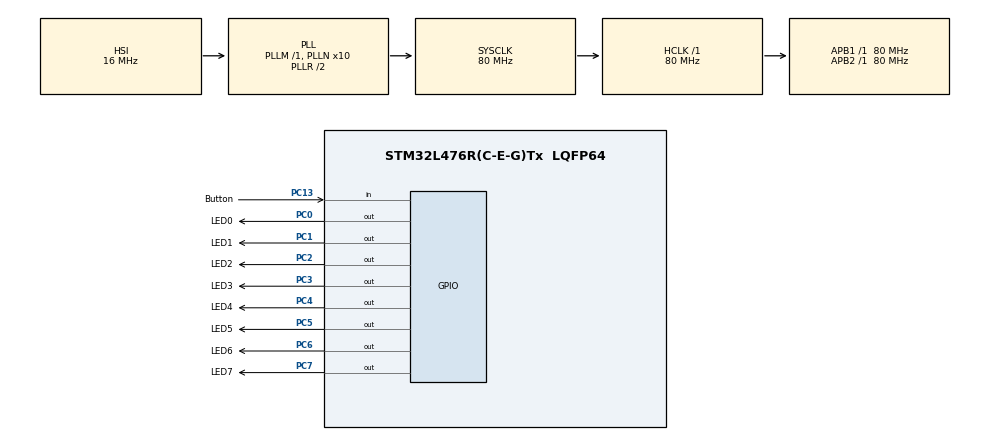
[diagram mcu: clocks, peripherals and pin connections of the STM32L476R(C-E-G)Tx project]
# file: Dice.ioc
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Mcu.Family=STM32L4
Mcu.Name=STM32L476R(C-E-G)Tx
Mcu.Package=LQFP64
NVIC.PriorityGroup=NVIC_PRIORITYGROUP_4
PC0.GPIO_Label=LED0
PC0.Signal=GPIO_Output
PC1.GPIO_Label=LED1
PC1.Signal=GPIO_Output
PC13.GPIO_Label=Button
PC13.Signal=GPIO_Input
PC2.GPIO_Label=LED2
PC2.Signal=GPIO_Output
PC3.GPIO_Label=LED3
PC3.Signal=GPIO_Output
PC4.GPIO_Label=LED4
PC4.Signal=GPIO_Output
PC5.GPIO_Label=LED5
PC5.Signal=GPIO_Output
PC6.GPIO_Label=LED6
PC6.Signal=GPIO_Output
PC7.GPIO_Label=LED7
PC7.Signal=GPIO_Output
PH0-OSC_IN\ (PH0).Mode=HSE-External-Oscillator
PH0-OSC_IN\ (PH0).Signal=RCC_OSC_IN
PH1-OSC_OUT\ (PH1).Mode=HSE-External-Oscillator
PH1-OSC_OUT\ (PH1).Signal=RCC_OSC_OUT
ProjectManager.HeapSize=0x200
ProjectManager.StackSize=0x400
ProjectManager.TargetToolchain=STM32CubeIDE
RCC.ADCFreq_Value=64000000
RCC.AHBFreq_Value=80000000
RCC.APB1Freq_Value=80000000
RCC.APB1TimFreq_Value=80000000
RCC.APB2Freq_Value=80000000
RCC.APB2TimFreq_Value=80000000
RCC.CortexFreq_Value=80000000
RCC.HCLKFreq_Value=80000000
RCC.HSE_VALUE=8000000
RCC.HSI_VALUE=16000000
RCC.LSE_VALUE=32768
RCC.MSI_VALUE=4000000
RCC.PLLN=10
RCC.PLLSourceVirtual=RCC_PLLSOURCE_HSI
RCC.SYSCLKFreq_VALUE=80000000
RCC.SYSCLKSource=RCC_SYSCLKSOURCE_PLLCLK
RCC.USBFreq_Value=64000000
RCC.VCOOutputFreq_Value=160000000
board=custom

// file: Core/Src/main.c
/* USER CODE BEGIN Header */
/**
  ******************************************************************************
  * @file           : main.c
  * @brief          : Main program body
  ******************************************************************************
  * @attention
  *
  * Copyright (c) 2024 STMicroelectronics.
  * All rights reserved.
  *
  * This software is licensed under terms that can be found in the LICENSE file
  * in the root directory of this software component.
  * If no LICENSE file comes with this software, it is provided AS-IS.
  *
  ******************************************************************************
  */
/* USER CODE END Header */
#include "main.h"

void SystemClock_Config(void);
static void MX_GPIO_Init(void);

int main(void)
{

  /* MCU Configuration--------------------------------------------------------*/

  /* Reset of all peripherals, Initializes the Flash interface and the Systick. */
  HAL_Init();

  /* Configure the system clock */
  SystemClock_Config();

  /* Initialize all configured peripherals */
  MX_GPIO_Init();
  /* USER CODE BEGIN 2 */
  int LED[]={LED0_Pin,LED1_Pin,LED2_Pin,LED3_Pin,LED4_Pin,LED5_Pin,LED6_Pin,LED7_Pin};
  int dice;

  void AllOff()
  {
	  for(int i=0;i<8;++i)
	  {
		  HAL_GPIO_WritePin(GPIOC, LED[i], 0);
	  }
  }
  /* USER CODE END 2 */

  /* Infinite loop */
  /* USER CODE BEGIN WHILE */
  srand(time(NULL));
  while (1)
  {
	  AllOff();
	  while(HAL_GPIO_ReadPin(Button_GPIO_Port, Button_Pin)==1);
	  dice=rand() %6 + 1;
	  switch(dice)
	  {
	  case 1:
		  HAL_GPIO_WritePin(GPIOC, LED[3], 1);
		  break;
	  case 2 :
		  HAL_GPIO_WritePin(GPIOC, LED[1], 1);
		  HAL_GPIO_WritePin(GPIOC, LED[5], 1);
		  break;
	  case 3 :
		  HAL_GPIO_WritePin(GPIOC, LED[1], 1);
		  HAL_GPIO_WritePin(GPIOC, LED[3], 1);
		  HAL_GPIO_WritePin(GPIOC, LED[5], 1);
		  break;
	  case 4:
		  HAL_GPIO_WritePin(GPIOC, LED[0], 1);
		  HAL_GPIO_WritePin(GPIOC, LED[2], 1);
		  HAL_GPIO_WritePin(GPIOC, LED[4], 1);
		  HAL_GPIO_WritePin(GPIOC, LED[6], 1);
		  break;
	  case 5:
		  HAL_GPIO_WritePin(GPIOC, LED[0], 1);
		  HAL_GPIO_WritePin(GPIOC, LED[2], 1);
		  HAL_GPIO_WritePin(GPIOC, LED[3], 1);
		  HAL_GPIO_WritePin(GPIOC, LED[4], 1);
		  HAL_GPIO_WritePin(GPIOC, LED[6], 1);
		  break;
	  case 6:
	  		  HAL_GPIO_WritePin(GPIOC, LED[0], 1);
	  		  HAL_GPIO_WritePin(GPIOC, LED[1], 1);
	  		  HAL_GPIO_WritePin(GPIOC, LED[2], 1);
	  		  HAL_GPIO_WritePin(GPIOC, LED[4], 1);
	  		  HAL_GPIO_WritePin(GPIOC, LED[5], 1);
	  		  HAL_GPIO_WritePin(GPIOC, LED[6], 1);
	  		  break;
	  }
	  	HAL_Delay(5000);
	  	while(HAL_GPIO_ReadPin(Button_GPIO_Port, Button_Pin)==1);
    /* USER CODE END WHILE */

  }
}

void SystemClock_Config(void)
{
  RCC_OscInitTypeDef RCC_OscInitStruct = {0};
  RCC_ClkInitTypeDef RCC_ClkInitStruct = {0};

  /** Configure the main internal regulator output voltage
  */
  if (HAL_PWREx_ControlVoltageScaling(PWR_REGULATOR_VOLTAGE_SCALE1) != HAL_OK)
  {
    Error_Handler();
  }

  /** Initializes the RCC Oscillators according to the specified parameters
  * in the RCC_OscInitTypeDef structure.
  */
  RCC_OscInitStruct.OscillatorType = RCC_OSCILLATORTYPE_HSI;
  RCC_OscInitStruct.HSIState = RCC_HSI_ON;
  RCC_OscInitStruct.HSICalibrationValue = RCC_HSICALIBRATION_DEFAULT;
  RCC_OscInitStruct.PLL.PLLState = RCC_PLL_ON;
  RCC_OscInitStruct.PLL.PLLSource = RCC_PLLSOURCE_HSI;
  RCC_OscInitStruct.PLL.PLLM = 1;
  RCC_OscInitStruct.PLL.PLLN = 10;
  RCC_OscInitStruct.PLL.PLLP = RCC_PLLP_DIV7;
  RCC_OscInitStruct.PLL.PLLQ = RCC_PLLQ_DIV2;
  RCC_OscInitStruct.PLL.PLLR = RCC_PLLR_DIV2;
  if (HAL_RCC_OscConfig(&RCC_OscInitStruct) != HAL_OK)
  {
    Error_Handler();
  }

  /** Initializes the CPU, AHB and APB buses clocks
  */
  RCC_ClkInitStruct.ClockType = RCC_CLOCKTYPE_HCLK|RCC_CLOCKTYPE_SYSCLK
                              |RCC_CLOCKTYPE_PCLK1|RCC_CLOCKTYPE_PCLK2;
  RCC_ClkInitStruct.SYSCLKSource = RCC_SYSCLKSOURCE_PLLCLK;
  RCC_ClkInitStruct.AHBCLKDivider = RCC_SYSCLK_DIV1;
  RCC_ClkInitStruct.APB1CLKDivider = RCC_HCLK_DIV1;
  RCC_ClkInitStruct.APB2CLKDivider = RCC_HCLK_DIV1;

  if (HAL_RCC_ClockConfig(&RCC_ClkInitStruct, FLASH_LATENCY_4) != HAL_OK)
  {
    Error_Handler();
  }
}

static void MX_GPIO_Init(void)
{
  GPIO_InitTypeDef GPIO_InitStruct = {0};

  /* GPIO Ports Clock Enable */
  __HAL_RCC_GPIOC_CLK_ENABLE();
  __HAL_RCC_GPIOH_CLK_ENABLE();

  /*Configure GPIO pin Output Level */
  HAL_GPIO_WritePin(GPIOC, LED0_Pin|LED1_Pin|LED2_Pin|LED3_Pin
                          |LED4_Pin|LED5_Pin|LED6_Pin|LED7_Pin, GPIO_PIN_RESET);

  /*Configure GPIO pin : Button_Pin */
  GPIO_InitStruct.Pin = Button_Pin;
  GPIO_InitStruct.Mode = GPIO_MODE_INPUT;
  GPIO_InitStruct.Pull = GPIO_NOPULL;
  HAL_GPIO_Init(Button_GPIO_Port, &GPIO_InitStruct);

  /*Configure GPIO pins : LED0_Pin LED1_Pin LED2_Pin LED3_Pin
                           LED4_Pin LED5_Pin LED6_Pin LED7_Pin */
  GPIO_InitStruct.Pin = LED0_Pin|LED1_Pin|LED2_Pin|LED3_Pin
                          |LED4_Pin|LED5_Pin|LED6_Pin|LED7_Pin;
  GPIO_InitStruct.Mode = GPIO_MODE_OUTPUT_PP;
  GPIO_InitStruct.Pull = GPIO_NOPULL;
  GPIO_InitStruct.Speed = GPIO_SPEED_FREQ_LOW;
  HAL_GPIO_Init(GPIOC, &GPIO_InitStruct);

}

void Error_Handler(void)
{
  __disable_irq();
  while (1)
  {
  }
}
